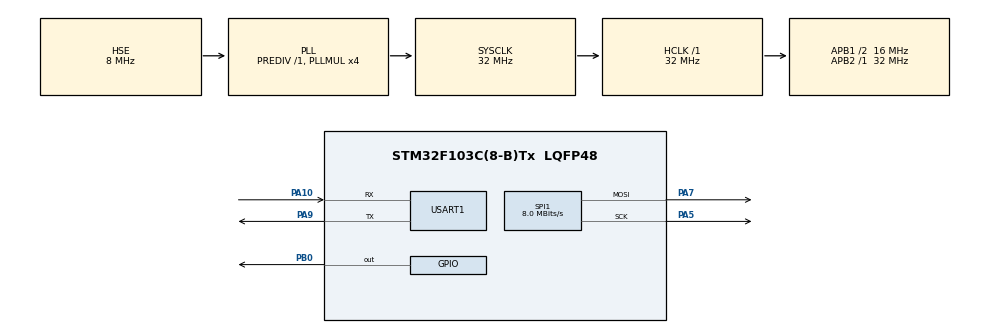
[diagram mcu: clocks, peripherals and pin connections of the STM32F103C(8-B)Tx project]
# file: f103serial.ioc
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Dma.Request0=SPI1_TX
Dma.SPI1_TX.0.Direction=DMA_MEMORY_TO_PERIPH
Dma.SPI1_TX.0.Instance=DMA1_Channel3
Dma.SPI1_TX.0.MemDataAlignment=DMA_MDATAALIGN_BYTE
Dma.SPI1_TX.0.MemInc=DMA_MINC_ENABLE
Dma.SPI1_TX.0.Mode=DMA_NORMAL
Dma.SPI1_TX.0.PeriphDataAlignment=DMA_PDATAALIGN_BYTE
Dma.SPI1_TX.0.PeriphInc=DMA_PINC_DISABLE
Dma.SPI1_TX.0.Priority=DMA_PRIORITY_LOW
Mcu.Family=STM32F1
Mcu.Name=STM32F103C(8-B)Tx
Mcu.Package=LQFP48
NVIC.DMA1_Channel3_IRQn=true\:0\:0\:false\:false\:true\:false\:true\:true
NVIC.PriorityGroup=NVIC_PRIORITYGROUP_4
NVIC.USART1_IRQn=true\:0\:0\:false\:false\:true\:true\:true\:true
PA10.Mode=Asynchronous
PA10.Signal=USART1_RX
PA13.Mode=Serial_Wire
PA13.Signal=SYS_JTMS-SWDIO
PA14.Mode=Serial_Wire
PA14.Signal=SYS_JTCK-SWCLK
PA5.Mode=TX_Only_Simplex_Unidirect_Master
PA5.Signal=SPI1_SCK
PA7.Mode=TX_Only_Simplex_Unidirect_Master
PA7.Signal=SPI1_MOSI
PA9.Mode=Asynchronous
PA9.Signal=USART1_TX
PB0.GPIO_Speed=GPIO_SPEED_FREQ_HIGH
PB0.Signal=GPIO_Output
PD0-OSC_IN.Mode=HSE-External-Oscillator
PD0-OSC_IN.Signal=RCC_OSC_IN
PD1-OSC_OUT.Mode=HSE-External-Oscillator
PD1-OSC_OUT.Signal=RCC_OSC_OUT
ProjectManager.HeapSize=0x200
ProjectManager.StackSize=0x400
ProjectManager.TargetToolchain=MDK-ARM V5.32
RCC.AHBFreq_Value=32000000
RCC.APB1CLKDivider=RCC_HCLK_DIV2
RCC.APB1Freq_Value=16000000
RCC.APB1TimFreq_Value=32000000
RCC.APB2Freq_Value=32000000
RCC.APB2TimFreq_Value=32000000
RCC.HCLKFreq_Value=32000000
RCC.PLLMUL=RCC_PLL_MUL4
RCC.PLLSourceVirtual=RCC_PLLSOURCE_HSE
RCC.SYSCLKFreq_VALUE=32000000
RCC.SYSCLKSource=RCC_SYSCLKSOURCE_PLLCLK
RCC.USBFreq_Value=32000000
SPI1.BaudRatePrescaler=SPI_BAUDRATEPRESCALER_4
SPI1.CLKPolarity=SPI_POLARITY_HIGH
SPI1.CalculateBaudRate=8.0 MBits/s
SPI1.Direction=SPI_DIRECTION_2LINES
SPI1.Mode=SPI_MODE_MASTER
SPI1.VirtualType=VM_MASTER
USART1.VirtualMode=VM_ASYNC
board=custom

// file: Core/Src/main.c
/* USER CODE BEGIN Header */
/**
  ******************************************************************************
  * @file           : main.c
  * @brief          : Main program body
  ******************************************************************************
  * @attention
  *
  * Copyright (c) 2024 STMicroelectronics.
  * All rights reserved.
  *
  * This software is licensed under terms that can be found in the LICENSE file
  * in the root directory of this software component.
  * If no LICENSE file comes with this software, it is provided AS-IS.
  *
  ******************************************************************************
  */
/* USER CODE END Header */
#include "main.h"
#include "dma.h"
#include "spi.h"
#include "usart.h"
#include "gpio.h"
#include <string.h>
#include <stdio.h>
#include "ws2812Frame.h"

/* USER CODE BEGIN PTD */
uint8_t rxData[18]; //发送18位数据包含2个0x的crc校验码
size_t  rxSize = sizeof(rxData);
uint8_t txData[16];//只要前16位
size_t  txSize = sizeof(txData); // Subtract 1 to exclude null terminator
const char *model1 = "颜色控制";  //  Chinese
const char *model2 = "呼吸灯 ";  //  Chinese
const char *model3 = "流水灯 ";  //  Chinese
const char *model4 = "跑马灯 ";  //  Chinese

uint16_t crc_temple;
uint8_t crc[10];
uint8_t *p_to_rxData = &rxData[1];

//uint8_t color[24];
//uint8_t color1[24];

uint32_t sum;
uint8_t reset[24];
uint8_t one[2] = {0xFF,0xFF};

uint8_t breath_whileflag = 0;
uint8_t puma_whileflag = 0;
uint8_t stream_whileflag = 0;
//uint16_t lenth;
//uint16_t number;
//WS2812_INIT(my_ws2812,1,color,WS2812SendMassge);
WS2812_INIT(my2_ws2812,1,reset,WS2812SendMassge);
//uint8_t countflag=0;
/* USER CODE END PTD */

void SystemClock_Config(void);
void InvertUint8(unsigned char* DesBuf, unsigned char* SrcBuf);
void InvertUint16(unsigned short* DesBuf, unsigned short* SrcBuf);
unsigned short CRC16_CCITT(unsigned char* puchMsg, unsigned int usDataLen);
uint32_t multiplyLastTwoHexPairs(uint8_t *data);
//void HAL_SPI_TxCpltCallback(SPI_HandleTypeDef *hspi);
//void WS2811_Set_RGB(uint8_t r,uint8_t g, uint8_t b, uint16_t len);

int main(void)
{

  /* MCU Configuration--------------------------------------------------------*/

  /* Reset of all peripherals, Initializes the Flash interface and the Systick. */
  HAL_Init();

  /* Configure the system clock */
  SystemClock_Config();

  /* Initialize all configured peripherals */
		MX_GPIO_Init();
		MX_DMA_Init();
		MX_USART1_UART_Init();
		MX_SPI1_Init();
  /* USER CODE BEGIN 2 */
	//UART_SendByte(0x48,HAL_MAX_DELAY);
		//设置rgb为0的数据帧
		SetWSColor(&my2_ws2812, 0, 0, 0, 0);

		//HAL_UART_Transmit(&huart1, my2_ws2812.sendBuff, 24, 0xFFFF);

		//灯带reset
		HAL_SPI_Transmit_DMA(&hspi1, reset, 24);
		HAL_Delay(1);
		HAL_SPI_Transmit_DMA(&hspi1, my2_ws2812.sendBuff, 24);
		while(!(HAL_SPI_GetState(&hspi1) == HAL_SPI_STATE_READY));

		HAL_UART_Receive_IT(&huart1, rxData, rxSize);
	 /* USER CODE END 2 */

  while (1)
  {
//#if 0
		//延时1段时间，防止新的rxData数据没有接受
		//HAL_Delay(100);
		if(rxData[0] == 0x48)
    {

				//crc校验
				memcpy(txData, rxData, txSize);
				crc_temple = CRC16_CCITT(txData,txSize);
				//电脑串口发送数据是高位先行
				crc[0] = (crc_temple >>8 );   //高8位
				crc[1] = (crc_temple & 0xFF);	//低8位
				//ascii码发送16进制数
				//UART_SendByte(rxData[16],HAL_MAX_DELAY);
				//UART_SendByte(rxData[17],HAL_MAX_DELAY);
				//UART_SendByte(crc[0],HAL_MAX_DELAY);
				//UART_SendByte(crc[1],HAL_MAX_DELAY);
				UART_SendString(&huart1, "Model_Set:");
				switch(rxData[4])
				{
					case 0:UART_SendUTF8String(&huart1, model1);break;
					case 1:UART_SendUTF8String(&huart1, model2);break;
					case 2:UART_SendUTF8String(&huart1, model3);break;
					case 3:UART_SendUTF8String(&huart1, model4);break;
				}
				UART_SendString(&huart1, "\t");
				UART_SendString(&huart1, "CRC_RESULT:");
				if(crc[0] == rxData[16] && crc[1] == rxData[17])
				{
					UART_SendString(&huart1, "TRUE");
				}
				else
				{
					UART_SendString(&huart1, "FALSE");
				}
				//UART_SendHexArray(&huart1, crc, 2);
				rxData[0] = 0x00;

			//新数据前关灯,将数据位拉低
				if(sum != 0)
				{
					//当灯数量到768时，for循环会卡
					for(uint8_t i=0;i<(sum/3);i++)
						{
						HAL_SPI_Transmit(&hspi1, my2_ws2812.sendBuff, 24,HAL_MAX_DELAY);
						}
					//HAL_SPI_Transmit(&hspi1, zero, 24,HAL_MAX_DELAY);
				}
						//HAL_Delay(100);

			switch(rxData[4])
			{
				case 0:
						//模式1 颜色控制
						if(rxData[4] == 0x00)
						{
							sum = multiplyLastTwoHexPairs(rxData);
							//发送控灯数量
							UART_SendString(&huart1, "\t");
							UART_SendString(&huart1, "LIGHT_Number:");
							UART_SendIntString(&huart1,sum);
							if(sum != 0)
							{
								uint8_t color[(sum/3)*24];
								WS2812_INIT(my_ws2812,1,color,WS2812SendMassge);
								for(uint32_t i=0;i<(sum/3);i++)
								{
									SetWSColor(&my_ws2812, i, rxData[9],  rxData[10],  rxData[11]);  // RGB
								//SetWSColor(&my_ws2812, 1, 255, 0, 0);  // 将第二个灯珠设为绿色
								}
								// Send "ok" after receiving the complete packet
								HAL_SPI_Transmit(&hspi1, my_ws2812.sendBuff, sum/3*24,HAL_MAX_DELAY);
							}
						}
						break;

				case 1:
						//模式2 呼吸灯
						if(rxData[4] == 0x01)
						{
							breath_whileflag=0;
							sum = multiplyLastTwoHexPairs(rxData);
							//发送控灯数量
							UART_SendString(&huart1, "\t");
							UART_SendString(&huart1, "LIGHT_Number:");
							UART_SendIntString(&huart1,sum);
							if(sum != 0)
							{

								uint8_t color[(sum/3)*24];
								WS2812_INIT(my_ws2812,1,color,WS2812SendMassge);
								while(1)
								{
												if (breath_whileflag)
												{
														// 清除标志
																breath_whileflag = 0;

														// 退出循环或执行其他操作
														break;
												}

											//pwm 上升
											for(uint8_t j=10;j>0;j--)
												{
														for(uint32_t i=0;i<(sum/3);i++)
														{
															SetWSColor(&my_ws2812, i, rxData[9]/j,  rxData[10]/j,  rxData[11]/j);  // RGB
														}

														HAL_SPI_Transmit(&hspi1, my_ws2812.sendBuff, sum/3*24,HAL_MAX_DELAY);

														HAL_Delay(100);

														if (breath_whileflag)
														{
																break;
														}
												}

											if (breath_whileflag)
												{
														// 清除标志
																breath_whileflag = 0;

														// 退出循环或执行其他操作
														break;
												}

											//pwm下降
											for(uint8_t j=1;j<11;j++)
											{
													for(uint32_t i=0;i<(sum/3);i++)
													{
														SetWSColor(&my_ws2812, i, rxData[9]/j,  rxData[10]/j,  rxData[11]/j);  // RGB
													}

													HAL_SPI_Transmit(&hspi1, my_ws2812.sendBuff, sum/3*24,HAL_MAX_DELAY);

													HAL_Delay(100);
													if (breath_whileflag)
														{
																break;
														}
											}

								}
						 }

						}
						break;

				case 2:
						//模式3 流水灯
						if(rxData[4] == 0x02)
						{
							stream_whileflag=0;
							sum = multiplyLastTwoHexPairs(rxData);
							//发送控灯数量
							UART_SendString(&huart1, "\t");
							UART_SendString(&huart1, "LIGHT_Number:");
							UART_SendIntString(&huart1,sum);
							if(sum != 0)
							{
								uint8_t color[(sum/3)*24];
								WS2812_INIT(my_ws2812,1,color,WS2812SendMassge);
								while(1)
								{
									if (stream_whileflag)
												{
														// 清除标志
																stream_whileflag = 0;

														// 退出循环或执行其他操作
														break;
												}

									for(uint32_t i=0;i<(sum/3);i++)
									{
											SetWSColor(&my_ws2812, i, rxData[9],  rxData[10],  rxData[11]);  // RGB
											HAL_SPI_Transmit(&hspi1, my_ws2812.sendBuff, (i+1)*24,HAL_MAX_DELAY);
											HAL_Delay(200);

											if (stream_whileflag)
													{
															break;
													}
									}

									if (stream_whileflag)
												{
														// 清除标志
																stream_whileflag = 0;

														// 退出循环或执行其他操作
														break;
												}
									for(int32_t j=(sum/3)-1;j>=0;j--)
									{
											SetWSColor(&my_ws2812, j, 0,  0,  0);  // RGB
											HAL_SPI_Transmit(&hspi1, my_ws2812.sendBuff, (sum/3)*24,HAL_MAX_DELAY);
											HAL_Delay(200);
											if (stream_whileflag)
													{
															break;
													}
									}
								}

							}

						}
						break;

				case 3:
						//模式4 跑马灯
						if(rxData[4] == 0x03)
						{
							puma_whileflag=0;
							sum = multiplyLastTwoHexPairs(rxData);
							//发送控灯数量
							UART_SendString(&huart1, "\t");
							UART_SendString(&huart1, "LIGHT_Number:");
							UART_SendIntString(&huart1,sum);
							if(sum != 0)
							{
								uint8_t color[(sum/3)*24];
								WS2812_INIT(my_ws2812,1,color,WS2812SendMassge);
								while(1)
								{
									if (puma_whileflag)
												{
														// 清除标志
																puma_whileflag = 0;

														// 退出循环或执行其他操作
														break;
												}

									for(uint32_t i=0;i<(sum/3);i++)
									{
											//先把之前设置的灯带reset
											for(uint32_t j=0;j<(sum/3);j++)
											{
													SetWSColor(&my_ws2812, j, 0,  0,  0);  // RGB
											}

											SetWSColor(&my_ws2812, i, rxData[9],  rxData[10],  rxData[11]);  // RGB
											HAL_SPI_Transmit(&hspi1, my_ws2812.sendBuff, (sum/3)*24,HAL_MAX_DELAY);
											HAL_Delay(200);
											if (puma_whileflag)
												{
														break;
												}
									}

								}

							}
						}
						break;
					}

				}
		}
}

void SystemClock_Config(void)
{
  RCC_OscInitTypeDef RCC_OscInitStruct = {0};
  RCC_ClkInitTypeDef RCC_ClkInitStruct = {0};

  /** Initializes the RCC Oscillators according to the specified parameters
  * in the RCC_OscInitTypeDef structure.
  */
  RCC_OscInitStruct.OscillatorType = RCC_OSCILLATORTYPE_HSE;
  RCC_OscInitStruct.HSEState = RCC_HSE_ON;
  RCC_OscInitStruct.HSEPredivValue = RCC_HSE_PREDIV_DIV1;
  RCC_OscInitStruct.HSIState = RCC_HSI_ON;
  RCC_OscInitStruct.PLL.PLLState = RCC_PLL_ON;
  RCC_OscInitStruct.PLL.PLLSource = RCC_PLLSOURCE_HSE;
  RCC_OscInitStruct.PLL.PLLMUL = RCC_PLL_MUL4;
  if (HAL_RCC_OscConfig(&RCC_OscInitStruct) != HAL_OK)
  {
    Error_Handler();
  }

  /** Initializes the CPU, AHB and APB buses clocks
  */
  RCC_ClkInitStruct.ClockType = RCC_CLOCKTYPE_HCLK|RCC_CLOCKTYPE_SYSCLK
                              |RCC_CLOCKTYPE_PCLK1|RCC_CLOCKTYPE_PCLK2;
  RCC_ClkInitStruct.SYSCLKSource = RCC_SYSCLKSOURCE_PLLCLK;
  RCC_ClkInitStruct.AHBCLKDivider = RCC_SYSCLK_DIV1;
  RCC_ClkInitStruct.APB1CLKDivider = RCC_HCLK_DIV2;
  RCC_ClkInitStruct.APB2CLKDivider = RCC_HCLK_DIV1;

  if (HAL_RCC_ClockConfig(&RCC_ClkInitStruct, FLASH_LATENCY_2) != HAL_OK)
  {
    Error_Handler();
  }
}

/* USER CODE BEGIN 4 */
void HAL_UART_RxCpltCallback(UART_HandleTypeDef *huart)
{
    if (huart->Instance == USART1)
    {
        // 处理接收到的数据
        // 可以在这里启动新的接收中断
				puma_whileflag = 1;
				breath_whileflag = 1;
				stream_whileflag = 1;

        HAL_UART_Receive_IT(&huart1, rxData, rxSize);
    }
}

uint32_t multiplyLastTwoHexPairs(uint8_t *data)
{
    // 获取最后4个字节，将它们组合成两个 16 位整数
    uint16_t num1 = (data[12] << 8) | data[13]; // 组合高低位，0xFF01
    uint16_t num2 = (data[14] << 8) | data[15]; // 组合高低位，0x3221

    // 计算乘积
    uint32_t product = (uint32_t)num1 * (uint32_t)num2;

    return product;
}

void InvertUint8(unsigned char* DesBuf, unsigned char* SrcBuf)
{
    int i;
    unsigned char temp = 0;

    for (i = 0; i < 8; i++)
    {
        if (SrcBuf[0] & (1 << i))
        {
            temp |= 1 << (7 - i);
        }
    }
    DesBuf[0] = temp;
}

void InvertUint16(unsigned short* DesBuf, unsigned short* SrcBuf)
{
    int i;
    unsigned short temp = 0;

    for (i = 0; i < 16; i++)
    {
        if (SrcBuf[0] & (1 << i))
        {
            temp |= 1 << (15 - i);
        }
    }
    DesBuf[0] = temp;
}

unsigned short CRC16_CCITT(unsigned char* puchMsg, unsigned int usDataLen)
{
    unsigned short wCRCin = 0x0000;
    unsigned short wCPoly = 0x1021;
    unsigned char wChar = 0;

    while (usDataLen--)
    {
        wChar = *(puchMsg++);
        InvertUint8(&wChar, &wChar);
        wCRCin ^= (wChar << 8);

        for (int i = 0; i < 8; i++)
        {
            if (wCRCin & 0x8000)
            {
							wCRCin = (wCRCin << 1) ^ wCPoly;//CRC的第一位舍去
            }
            else
            {
                wCRCin = wCRCin << 1;
            }
        }
    }
    InvertUint16(&wCRCin, &wCRCin);
    return (wCRCin);
}

/* USER CODE END 4 */

void Error_Handler(void)
{
  __disable_irq();
  while (1)
  {
  }
}
